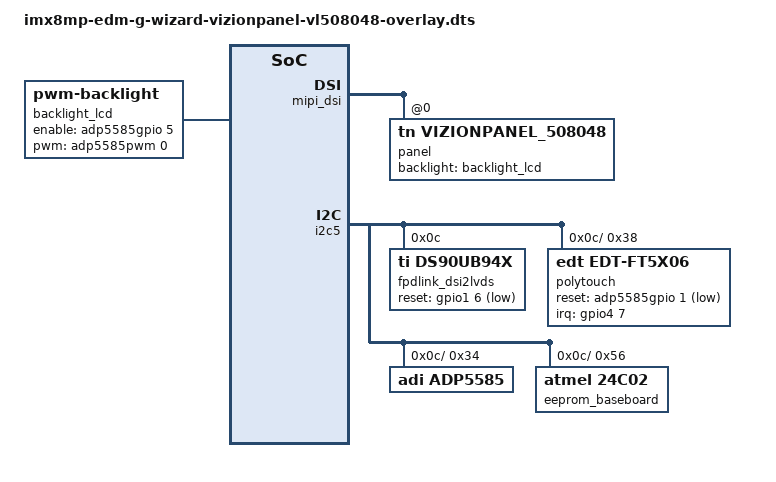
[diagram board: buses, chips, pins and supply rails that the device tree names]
// SPDX-License-Identifier: (GPL-2.0+ OR MIT)
/*
 * Copyright 2020 TechNexion Ltd.
 *
 * Author: Richard Hu <richard.hu@technexion.com>
 *
 */

/dts-v1/;
/plugin/;

#include <dt-bindings/interrupt-controller/irq.h>
#include <dt-bindings/gpio/gpio.h>

/ {
	fragment@0 {
		target-path = "/";
		__overlay__ {
			backlight_lcd: backlight_lcd {
				compatible = "pwm-backlight";
				pwms = <&adp5585pwm 0 50000 0>;
				brightness-levels = <0 36 72 108 144 180 216 255>;
				default-brightness-level = <6>;
				post-pwm-on-delay-ms = <500>;
				enable-gpios = <&adp5585gpio 5 GPIO_ACTIVE_HIGH>; //EXP_DISP0_VDD_EN
				status = "okay";
			};
		};
	};

	fragment@1 {
		target = <&mipi_dsi>;
		__overlay__ {
			status = "okay";
			#address-cells = <1>;
			#size-cells = <0>;

			panel@0 {
				compatible = "tn,vizionpanel_508048";
				backlight = <&backlight_lcd>;
				reg = <0>;
				status = "okay";
			};
		};
	};

	fragment@2 {
		target = <&i2c5>;
		__overlay__ {
			#address-cells = <1>;
			#size-cells = <0>;
			status = "okay";

			fpdlink_dsi2lvds: ds90ub926@c {
				compatible = "ti,ds90ub94x";
				reg = <0x0c>;
				status = "okay";
				pinctrl-names = "default";
				pinctrl-0 = <&pinctrl_gpio1>;
				reset-gpios = <&gpio1 6 GPIO_ACTIVE_LOW>;
				dsi-delay = <2500>;
				i2c-alias-pool = <0x48 0x49 0x4a 0x4b 0x4c 0x4d 0x4e 0x4f>;

				i2c {
					#address-cells = <1>;
					#size-cells = <0>;

					polytouch: edt-ft5x06@38 {
						compatible = "edt,edt-ft5x06";
						pinctrl-names = "default";
						pinctrl-0 = <&pinctrl_mipi_touch_irq>, <&pinctrl_mipi_touch_reset>;
						reg = <0x38>;
						interrupt-parent = <&gpio4>;
						interrupts = <7 IRQ_TYPE_LEVEL_LOW>;
						reset-gpios = <&adp5585gpio 1 GPIO_ACTIVE_LOW>;
						touchscreen-size-x = <800>;
						touchscreen-size-y = <480>;
					};

					adp5585: mfd@34 {
						compatible = "adi,adp5585";
						reg = <0x34>;

						adp5585gpio: gpio@34 {
							compatible = "adp5585-gpio";
							gpio-controller;
							#gpio-cells = <2>;
							gpio-line-names = "TP12", "EXP_DISP0_RESET", "EXP_5VSYS_EN", "EXP_DISP0_BLT_CTRL", "TP11",
									"EXP_DISP0_VDD_EN", "U_D", "L_R", "TP9", "TP10";

							exp_disp0_5vsys_en {
								gpio-hog;
								gpios = <2 GPIO_ACTIVE_HIGH>;
								output-low;
							};

							exp_disp0_U_D {
								gpio-hog;
								gpios = <6 GPIO_ACTIVE_HIGH>;
								output-high;
							};

							exp_disp0_L_R {
								gpio-hog;
								gpios = <7 GPIO_ACTIVE_HIGH>;
								output-high;
							};
						};

						adp5585pwm: pwm@34 {
							compatible = "adp5585-pwm";
							#pwm-cells = <3>;
						};
					};

					eeprom_baseboard: eeprom@56 {
						compatible = "atmel,24c02";
						reg = <0x56>;
						pagesize = <16>;
						status = "okay";
					};
				};
			};
		};
	};
};
